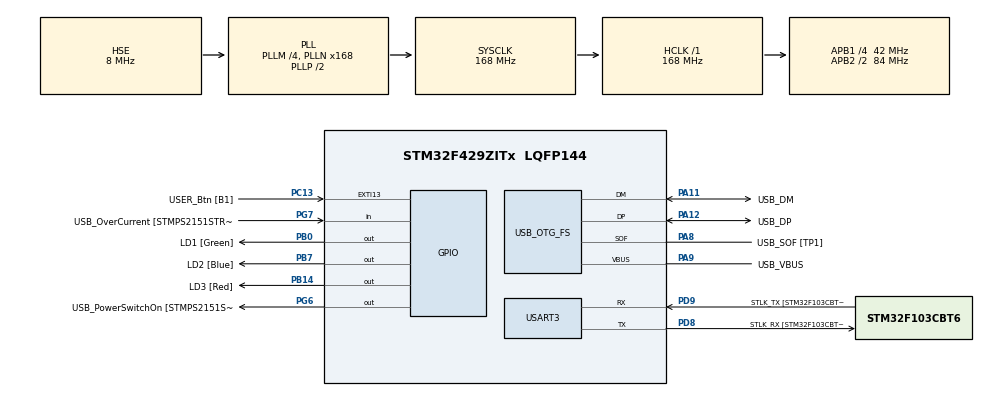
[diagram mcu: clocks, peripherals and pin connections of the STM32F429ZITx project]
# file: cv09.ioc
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Mcu.Family=STM32F4
Mcu.Name=STM32F429ZITx
Mcu.Package=LQFP144
NVIC.OTG_FS_IRQn=true\:0\:0\:false\:false\:true\:false\:true\:true
NVIC.PriorityGroup=NVIC_PRIORITYGROUP_4
PA1.GPIO_Label=RMII_REF_CLK [LAN8742A-CZ-TR_REFCLK0]
PA1.Signal=ETH_REF_CLK
PA10.GPIO_Label=USB_ID
PA10.Signal=USB_OTG_FS_ID
PA11.GPIO_Label=USB_DM
PA11.Mode=Device_Only
PA11.Signal=USB_OTG_FS_DM
PA12.GPIO_Label=USB_DP
PA12.Mode=Device_Only
PA12.Signal=USB_OTG_FS_DP
PA13.GPIO_Label=TMS
PA13.Mode=Serial_Wire
PA13.Signal=SYS_JTMS-SWDIO
PA14.GPIO_Label=TCK
PA14.Mode=Serial_Wire
PA14.Signal=SYS_JTCK-SWCLK
PA2.GPIO_Label=RMII_MDIO [LAN8742A-CZ-TR_MDIO]
PA2.Signal=ETH_MDIO
PA7.GPIO_Label=RMII_CRS_DV [LAN8742A-CZ-TR_CRS_DV]
PA7.Signal=ETH_CRS_DV
PA8.GPIO_Label=USB_SOF [TP1]
PA8.Mode=Activate_SOF_FS
PA8.Signal=USB_OTG_FS_SOF
PA9.GPIO_Label=USB_VBUS
PA9.Mode=Activate_VBUS
PA9.Signal=USB_OTG_FS_VBUS
PB0.GPIO_Label=LD1 [Green]
PB0.Signal=GPIO_Output
PB13.GPIO_Label=RMII_TXD1 [LAN8742A-CZ-TR_TXD1]
PB13.Signal=ETH_TXD1
PB14.GPIO_Label=LD3 [Red]
PB14.Signal=GPIO_Output
PB7.GPIO_Label=LD2 [Blue]
PB7.Signal=GPIO_Output
PC1.GPIO_Label=RMII_MDC [LAN8742A-CZ-TR_MDC]
PC1.Signal=ETH_MDC
PC13.GPIO_Label=USER_Btn [B1]
PC13.Signal=GPXTI13
PC14/OSC32_IN.Mode=LSE-External-Oscillator
PC14/OSC32_IN.Signal=RCC_OSC32_IN
PC15/OSC32_OUT.Mode=LSE-External-Oscillator
PC15/OSC32_OUT.Signal=RCC_OSC32_OUT
PC4.GPIO_Label=RMII_RXD0 [LAN8742A-CZ-TR_RXD0]
PC4.Signal=ETH_RXD0
PC5.GPIO_Label=RMII_RXD1 [LAN8742A-CZ-TR_RXD1]
PC5.Signal=ETH_RXD1
PD8.GPIO_Label=STLK_RX [STM32F103CBT6_PA3]
PD8.Mode=Asynchronous
PD8.Signal=USART3_TX
PD9.GPIO_Label=STLK_TX [STM32F103CBT6_PA2]
PD9.Mode=Asynchronous
PD9.Signal=USART3_RX
PG11.GPIO_Label=RMII_TX_EN [LAN8742A-CZ-TR_TXEN]
PG11.Signal=ETH_TX_EN
PG13.GPIO_Label=RMII_TXD0 [LAN8742A-CZ-TR_TXD0]
PG13.Signal=ETH_TXD0
PG6.GPIO_Label=USB_PowerSwitchOn [STMPS2151STR_EN]
PG6.Signal=GPIO_Output
PG7.GPIO_Label=USB_OverCurrent [STMPS2151STR_FAULT]
PG7.Signal=GPIO_Input
PH0/OSC_IN.GPIO_Label=MCO [STM32F103CBT6_PA8]
PH0/OSC_IN.Mode=HSE-External-Clock-Source
PH0/OSC_IN.Signal=RCC_OSC_IN
PH1/OSC_OUT.Mode=HSE-External-Clock-Source
PH1/OSC_OUT.Signal=RCC_OSC_OUT
ProjectManager.HeapSize=0x200
ProjectManager.StackSize=0x400
ProjectManager.TargetToolchain=STM32CubeIDE
RCC.48MHZClocksFreq_Value=48000000
RCC.AHBFreq_Value=168000000
RCC.APB1CLKDivider=RCC_HCLK_DIV4
RCC.APB1Freq_Value=42000000
RCC.APB1TimFreq_Value=84000000
RCC.APB2CLKDivider=RCC_HCLK_DIV2
RCC.APB2Freq_Value=84000000
RCC.APB2TimCLKDivider=2
RCC.APB2TimFreq_Value=168000000
RCC.CortexFreq_Value=168000000
RCC.HCLKFreq_Value=168000000
RCC.HSE_VALUE=8000000
RCC.HSI_VALUE=16000000
RCC.PLLM=4
RCC.PLLMUL=RCC_PLL_MUL9
RCC.PLLN=168
RCC.PLLQ=7
RCC.PRESCALERUSB=RCC_USBCLKSOURCE_PLL_DIV1_5
RCC.SYSCLKFreq_VALUE=168000000
RCC.SYSCLKSource=RCC_SYSCLKSOURCE_PLLCLK
RCC.SYSCLKSourceVirtual=RCC_SYSCLKSOURCE_PLLCLK
RCC.USBFreq_Value=48000000
RCC.VCOOutputFreq_Value=336000000
USART3.VirtualMode=VM_ASYNC
USB_DEVICE.CLASS_NAME_FS=HID
USB_DEVICE.VirtualMode-HID_FS=Hid
USB_DEVICE.VirtualModeFS=Hid_FS
USB_OTG_FS.VirtualMode=Device_Only
VP_USB_DEVICE_VS_USB_DEVICE_HID_FS.Mode=HID_FS
board=NUCLEO-F429ZI

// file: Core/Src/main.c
/* USER CODE BEGIN Header */
/**
 ******************************************************************************
 * @file           : main.c
 * @brief          : Main program body
 ******************************************************************************
 * @attention
 *
 * Copyright (c) 2025 STMicroelectronics.
 * All rights reserved.
 *
 * This software is licensed under terms that can be found in the LICENSE file
 * in the root directory of this software component.
 * If no LICENSE file comes with this software, it is provided AS-IS.
 *
 ******************************************************************************
 */
/* USER CODE END Header */
#include "main.h"
#include "usb_device.h"

/* USER CODE BEGIN Includes */
#include "usbd_hid.h"
#include "math.h"
#include <stdbool.h>
/* USER CODE END Includes */

/* USER CODE BEGIN PD */
extern USBD_HandleTypeDef hUsbDeviceFS;
/* USER CODE END PD */

UART_HandleTypeDef huart3;

void SystemClock_Config(void);
static void MX_GPIO_Init(void);
static void MX_USART3_UART_Init(void);

/* USER CODE BEGIN 0 */
static void step(int16_t x, int16_t y, bool btn)
{
	uint8_t buff[4];
	if(btn)
	{
		buff[0] = 0x01; // press the left button
	}
	else
	{
		buff[0] = 0x00; // unpress the left button
	}

	buff[1] = (int8_t)(x); // shift X
	buff[2] = (int8_t)(y); // shift Y
	buff[3] = 0; // no scroll
	USBD_HID_SendReport(&hUsbDeviceFS, buff, sizeof(buff));
	HAL_Delay(USBD_HID_GetPollingInterval(&hUsbDeviceFS));
}

static void arc(int16_t radius,float start, float stop )
{
	static int16_t sx = 0;
	static int16_t sy = 0;

	int16_t x;
	int16_t y;

	for(float i = start;i <= stop; i += 0.1f)
	{
		x = sx - (int16_t)(cosf(i)*radius);
		y = sy - (int16_t)(sinf(i)*radius);

		sx -= x;
		sy -= y;
		step(x, y, 1);
	}
	step(0, 0, 0);
}

static void face(void)
{
	arc(100,0,2*M_PI);
	step(-80,-30,0);
	arc(10,0,2*M_PI);
	step(50,0,0);
	arc(10,0,2*M_PI);
	step(-100,50,0);
	arc(70,M_PI,2*M_PI);
	step(40,0,0);
	step(0,0,1);
	step(0,-20,1);
	step(0,0,0);
}
/* USER CODE END 0 */

int main(void)
{

	/* MCU Configuration--------------------------------------------------------*/

	/* Reset of all peripherals, Initializes the Flash interface and the Systick. */
	HAL_Init();

	/* Configure the system clock */
	SystemClock_Config();

	/* Initialize all configured peripherals */
	MX_GPIO_Init();
	MX_USART3_UART_Init();
	MX_USB_DEVICE_Init();
	/* USER CODE BEGIN 2 */

	HAL_Delay(1000);
	face();
	/* USER CODE END 2 */

	/* Infinite loop */
	while (1)
	{

	}
}

void SystemClock_Config(void)
{
	RCC_OscInitTypeDef RCC_OscInitStruct = {0};
	RCC_ClkInitTypeDef RCC_ClkInitStruct = {0};

	/** Configure the main internal regulator output voltage
	 */
	__HAL_RCC_PWR_CLK_ENABLE();
	__HAL_PWR_VOLTAGESCALING_CONFIG(PWR_REGULATOR_VOLTAGE_SCALE1);

	/** Initializes the RCC Oscillators according to the specified parameters
	 * in the RCC_OscInitTypeDef structure.
	 */
	RCC_OscInitStruct.OscillatorType = RCC_OSCILLATORTYPE_HSE;
	RCC_OscInitStruct.HSEState = RCC_HSE_BYPASS;
	RCC_OscInitStruct.PLL.PLLState = RCC_PLL_ON;
	RCC_OscInitStruct.PLL.PLLSource = RCC_PLLSOURCE_HSE;
	RCC_OscInitStruct.PLL.PLLM = 4;
	RCC_OscInitStruct.PLL.PLLN = 168;
	RCC_OscInitStruct.PLL.PLLP = RCC_PLLP_DIV2;
	RCC_OscInitStruct.PLL.PLLQ = 7;
	if (HAL_RCC_OscConfig(&RCC_OscInitStruct) != HAL_OK)
	{
		Error_Handler();
	}

	/** Initializes the CPU, AHB and APB buses clocks
	 */
	RCC_ClkInitStruct.ClockType = RCC_CLOCKTYPE_HCLK|RCC_CLOCKTYPE_SYSCLK
			|RCC_CLOCKTYPE_PCLK1|RCC_CLOCKTYPE_PCLK2;
	RCC_ClkInitStruct.SYSCLKSource = RCC_SYSCLKSOURCE_PLLCLK;
	RCC_ClkInitStruct.AHBCLKDivider = RCC_SYSCLK_DIV1;
	RCC_ClkInitStruct.APB1CLKDivider = RCC_HCLK_DIV4;
	RCC_ClkInitStruct.APB2CLKDivider = RCC_HCLK_DIV2;

	if (HAL_RCC_ClockConfig(&RCC_ClkInitStruct, FLASH_LATENCY_5) != HAL_OK)
	{
		Error_Handler();
	}
}

static void MX_USART3_UART_Init(void)
{

	huart3.Instance = USART3;
	huart3.Init.BaudRate = 115200;
	huart3.Init.WordLength = UART_WORDLENGTH_8B;
	huart3.Init.StopBits = UART_STOPBITS_1;
	huart3.Init.Parity = UART_PARITY_NONE;
	huart3.Init.Mode = UART_MODE_TX_RX;
	huart3.Init.HwFlowCtl = UART_HWCONTROL_NONE;
	huart3.Init.OverSampling = UART_OVERSAMPLING_16;
	if (HAL_UART_Init(&huart3) != HAL_OK)
	{
		Error_Handler();
	}

}

static void MX_GPIO_Init(void)
{
	GPIO_InitTypeDef GPIO_InitStruct = {0};

	/* GPIO Ports Clock Enable */
	__HAL_RCC_GPIOC_CLK_ENABLE();
	__HAL_RCC_GPIOH_CLK_ENABLE();
	__HAL_RCC_GPIOA_CLK_ENABLE();
	__HAL_RCC_GPIOB_CLK_ENABLE();
	__HAL_RCC_GPIOD_CLK_ENABLE();
	__HAL_RCC_GPIOG_CLK_ENABLE();

	/*Configure GPIO pin Output Level */
	HAL_GPIO_WritePin(GPIOB, LD1_Pin|LD3_Pin|LD2_Pin, GPIO_PIN_RESET);

	/*Configure GPIO pin Output Level */
	HAL_GPIO_WritePin(USB_PowerSwitchOn_GPIO_Port, USB_PowerSwitchOn_Pin, GPIO_PIN_RESET);

	/*Configure GPIO pin : USER_Btn_Pin */
	GPIO_InitStruct.Pin = USER_Btn_Pin;
	GPIO_InitStruct.Mode = GPIO_MODE_IT_RISING;
	GPIO_InitStruct.Pull = GPIO_NOPULL;
	HAL_GPIO_Init(USER_Btn_GPIO_Port, &GPIO_InitStruct);

	/*Configure GPIO pins : RMII_MDC_Pin RMII_RXD0_Pin RMII_RXD1_Pin */
	GPIO_InitStruct.Pin = RMII_MDC_Pin|RMII_RXD0_Pin|RMII_RXD1_Pin;
	GPIO_InitStruct.Mode = GPIO_MODE_AF_PP;
	GPIO_InitStruct.Pull = GPIO_NOPULL;
	GPIO_InitStruct.Speed = GPIO_SPEED_FREQ_VERY_HIGH;
	GPIO_InitStruct.Alternate = GPIO_AF11_ETH;
	HAL_GPIO_Init(GPIOC, &GPIO_InitStruct);

	/*Configure GPIO pins : RMII_REF_CLK_Pin RMII_MDIO_Pin RMII_CRS_DV_Pin */
	GPIO_InitStruct.Pin = RMII_REF_CLK_Pin|RMII_MDIO_Pin|RMII_CRS_DV_Pin;
	GPIO_InitStruct.Mode = GPIO_MODE_AF_PP;
	GPIO_InitStruct.Pull = GPIO_NOPULL;
	GPIO_InitStruct.Speed = GPIO_SPEED_FREQ_VERY_HIGH;
	GPIO_InitStruct.Alternate = GPIO_AF11_ETH;
	HAL_GPIO_Init(GPIOA, &GPIO_InitStruct);

	/*Configure GPIO pins : LD1_Pin LD3_Pin LD2_Pin */
	GPIO_InitStruct.Pin = LD1_Pin|LD3_Pin|LD2_Pin;
	GPIO_InitStruct.Mode = GPIO_MODE_OUTPUT_PP;
	GPIO_InitStruct.Pull = GPIO_NOPULL;
	GPIO_InitStruct.Speed = GPIO_SPEED_FREQ_LOW;
	HAL_GPIO_Init(GPIOB, &GPIO_InitStruct);

	/*Configure GPIO pin : RMII_TXD1_Pin */
	GPIO_InitStruct.Pin = RMII_TXD1_Pin;
	GPIO_InitStruct.Mode = GPIO_MODE_AF_PP;
	GPIO_InitStruct.Pull = GPIO_NOPULL;
	GPIO_InitStruct.Speed = GPIO_SPEED_FREQ_VERY_HIGH;
	GPIO_InitStruct.Alternate = GPIO_AF11_ETH;
	HAL_GPIO_Init(RMII_TXD1_GPIO_Port, &GPIO_InitStruct);

	/*Configure GPIO pin : USB_PowerSwitchOn_Pin */
	GPIO_InitStruct.Pin = USB_PowerSwitchOn_Pin;
	GPIO_InitStruct.Mode = GPIO_MODE_OUTPUT_PP;
	GPIO_InitStruct.Pull = GPIO_NOPULL;
	GPIO_InitStruct.Speed = GPIO_SPEED_FREQ_LOW;
	HAL_GPIO_Init(USB_PowerSwitchOn_GPIO_Port, &GPIO_InitStruct);

	/*Configure GPIO pin : USB_OverCurrent_Pin */
	GPIO_InitStruct.Pin = USB_OverCurrent_Pin;
	GPIO_InitStruct.Mode = GPIO_MODE_INPUT;
	GPIO_InitStruct.Pull = GPIO_NOPULL;
	HAL_GPIO_Init(USB_OverCurrent_GPIO_Port, &GPIO_InitStruct);

	/*Configure GPIO pins : RMII_TX_EN_Pin RMII_TXD0_Pin */
	GPIO_InitStruct.Pin = RMII_TX_EN_Pin|RMII_TXD0_Pin;
	GPIO_InitStruct.Mode = GPIO_MODE_AF_PP;
	GPIO_InitStruct.Pull = GPIO_NOPULL;
	GPIO_InitStruct.Speed = GPIO_SPEED_FREQ_VERY_HIGH;
	GPIO_InitStruct.Alternate = GPIO_AF11_ETH;
	HAL_GPIO_Init(GPIOG, &GPIO_InitStruct);

}

void Error_Handler(void)
{
	__disable_irq();
	while (1)
	{
	}
}
